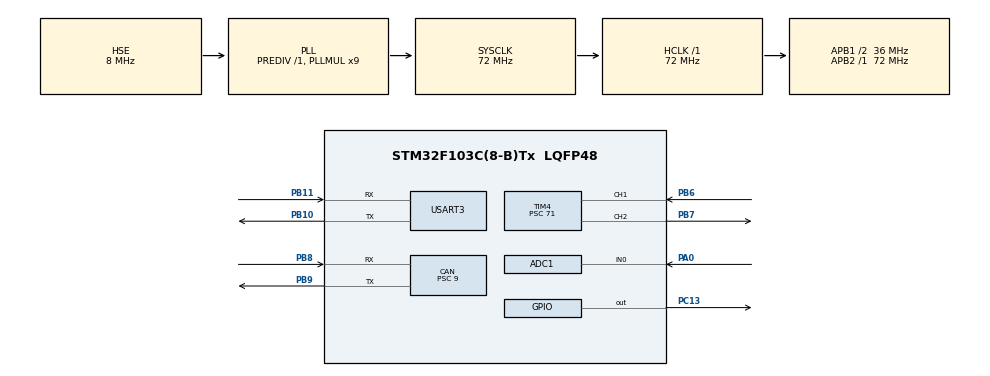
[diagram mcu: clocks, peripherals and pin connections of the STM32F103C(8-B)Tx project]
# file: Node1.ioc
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ADC1.Channel-0\#ChannelRegularConversion=ADC_CHANNEL_0
ADC1.NbrOfConversionFlag=1
ADC1.Rank-0\#ChannelRegularConversion=1
ADC1.SamplingTime-0\#ChannelRegularConversion=ADC_SAMPLETIME_1CYCLE_5
ADC1.master=1
CAN.BS1=CAN_BS1_6TQ
CAN.CalculateBaudRate=500000
CAN.CalculateTimeBit=2000
CAN.CalculateTimeQuantum=250.0
CAN.Mode=CAN_MODE_NORMAL
CAN.Prescaler=9
Mcu.Family=STM32F1
Mcu.Name=STM32F103C(8-B)Tx
Mcu.Package=LQFP48
NVIC.PriorityGroup=NVIC_PRIORITYGROUP_4
NVIC.TIM4_IRQn=true\:0\:0\:false\:false\:true\:true\:true\:true
PA0-WKUP.Signal=ADCx_IN0
PA13.Mode=Serial_Wire
PA13.Signal=SYS_JTMS-SWDIO
PA14.Mode=Serial_Wire
PA14.Signal=SYS_JTCK-SWCLK
PB10.Mode=Asynchronous
PB10.Signal=USART3_TX
PB11.Mode=Asynchronous
PB11.Signal=USART3_RX
PB6.Signal=S_TIM4_CH1
PB7.Signal=S_TIM4_CH2
PB8.Mode=CAN_Activate
PB8.Signal=CAN_RX
PB9.Mode=CAN_Activate
PB9.Signal=CAN_TX
PC13-TAMPER-RTC.Signal=GPIO_Output
PD0-OSC_IN.Mode=HSE-External-Oscillator
PD0-OSC_IN.Signal=RCC_OSC_IN
PD1-OSC_OUT.Mode=HSE-External-Oscillator
PD1-OSC_OUT.Signal=RCC_OSC_OUT
ProjectManager.HeapSize=0x200
ProjectManager.StackSize=0x400
ProjectManager.TargetToolchain=CMake
RCC.ADCPresc=RCC_ADCPCLK2_DIV6
RCC.AHBFreq_Value=72000000
RCC.APB1CLKDivider=RCC_HCLK_DIV2
RCC.APB1Freq_Value=36000000
RCC.APB1TimFreq_Value=72000000
RCC.APB2Freq_Value=72000000
RCC.APB2TimFreq_Value=72000000
RCC.HCLKFreq_Value=72000000
RCC.PLLMUL=RCC_PLL_MUL9
RCC.PLLSourceVirtual=RCC_PLLSOURCE_HSE
RCC.SYSCLKFreq_VALUE=72000000
RCC.SYSCLKSource=RCC_SYSCLKSOURCE_PLLCLK
RCC.USBFreq_Value=72000000
SH.ADCx_IN0.0=ADC1_IN0,IN0
SH.S_TIM4_CH1.0=TIM4_CH1,Input_Capture1_from_TI1
SH.S_TIM4_CH2.0=TIM4_CH2,PWM Generation2 CH2
TIM4.Channel-Input_Capture1_from_TI1=TIM_CHANNEL_1
TIM4.Channel-PWM\ Generation2\ CH2=TIM_CHANNEL_2
TIM4.Prescaler=71
TIM4.Pulse-PWM\ Generation2\ CH2=10
USART3.VirtualMode=VM_ASYNC
VP_TIM4_VS_OPM.Mode=OPM_bit
board=custom

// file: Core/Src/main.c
/* USER CODE BEGIN Header */
/**
  ******************************************************************************
  * @file           : main.c
  * @brief          : Main program body
  ******************************************************************************
  * @attention
  *
  * Copyright (c) 2026 STMicroelectronics.
  * All rights reserved.
  *
  * This software is licensed under terms that can be found in the LICENSE file
  * in the root directory of this software component.
  * If no LICENSE file comes with this software, it is provided AS-IS.
  *
  ******************************************************************************
  */
/* USER CODE END Header */
#include "main.h"

/* USER CODE BEGIN Includes */
#include <stdio.h>
#include <string.h>
#include <math.h>
#include <can_ids.h>
/* USER CODE END Includes */

ADC_HandleTypeDef hadc1;

CAN_HandleTypeDef hcan;

TIM_HandleTypeDef htim4;

UART_HandleTypeDef huart3;

/* USER CODE BEGIN PV */
static volatile uint8_t  ic_state   = 0;   /* 0 = wait rising, 1 = wait falling */
static volatile uint32_t ic_rise    = 0;
static volatile uint16_t Distance   = 0;
static volatile uint8_t  data_ready = 0;
static uint8_t  pot_val = 0;
static uint32_t tx_fail = 0;
/* USER CODE END PV */

void SystemClock_Config(void);
static void MX_GPIO_Init(void);
static void MX_ADC1_Init(void);
static void MX_CAN_Init(void);
static void MX_TIM4_Init(void);
static void MX_USART3_UART_Init(void);

/* USER CODE BEGIN 0 */
void HAL_TIM_IC_CaptureCallback(TIM_HandleTypeDef *htim)
{
    if (htim->Instance != TIM4 || htim->Channel != HAL_TIM_ACTIVE_CHANNEL_1) return;

    uint32_t v = HAL_TIM_ReadCapturedValue(htim, TIM_CHANNEL_1);

    if (ic_state == 0)                       /* rising edge */
    {
        ic_rise  = v;
        ic_state = 1;
        __HAL_TIM_SET_CAPTUREPOLARITY(htim, TIM_CHANNEL_1, TIM_INPUTCHANNELPOLARITY_FALLING);
    }
    else                                     /* falling edge */
    {
        uint16_t diff = (uint16_t)(v - ic_rise);
        Distance   = diff / 58U;
        data_ready = 1;
        ic_state   = 0;
        __HAL_TIM_SET_CAPTUREPOLARITY(htim, TIM_CHANNEL_1, TIM_INPUTCHANNELPOLARITY_RISING);
        __HAL_TIM_DISABLE_IT(htim, TIM_IT_CC1);
    }
}
/* USER CODE END 0 */

int main(void)
{

  /* USER CODE BEGIN 1 */
	/*char MSG[100];
	int X = 1;*/
  /* USER CODE END 1 */

  /* MCU Configuration--------------------------------------------------------*/

  /* Reset of all peripherals, Initializes the Flash interface and the Systick. */
  HAL_Init();

  /* Configure the system clock */
  SystemClock_Config();

  /* Initialize all configured peripherals */
  MX_GPIO_Init();
  MX_ADC1_Init();
  MX_CAN_Init();
  MX_TIM4_Init();
  MX_USART3_UART_Init();
  /* USER CODE BEGIN 2 */
  HAL_UART_Transmit(&huart3, (uint8_t*)"NODE A OK\r\n", 11, 100);

  HAL_ADCEx_Calibration_Start(&hadc1);

  htim4.Instance->CR1 |= TIM_CR1_OPM;
  HAL_TIM_IC_Start_IT(&htim4, TIM_CHANNEL_1);

  if (HAL_CAN_Start(&hcan) != HAL_OK)
  {
    Error_Handler();
  }

  uint32_t last_print = 0;
  /* USER CODE END 2 */

  /* Infinite loop */
  while (1)
  {

    /* USER CODE BEGIN 3 */

    HAL_GPIO_TogglePin(GPIOC, GPIO_PIN_13);

    /* pot */
    HAL_ADC_Start(&hadc1);
    if (HAL_ADC_PollForConversion(&hadc1, 10) == HAL_OK)
    {
      pot_val = (uint8_t)((HAL_ADC_GetValue(&hadc1) * 100U) / 4095U);
    }
    HAL_ADC_Stop(&hadc1);

    /* snapshot last echo result BEFORE re-arming */
    uint16_t dist_tx = data_ready ? Distance : CAN_DIST_NO_ECHO;
    data_ready = 0;

    /* re-arm capture from clean state, then trigger */
    ic_state = 0;
    __HAL_TIM_SET_CAPTUREPOLARITY(&htim4, TIM_CHANNEL_1, TIM_INPUTCHANNELPOLARITY_RISING);
    __HAL_TIM_CLEAR_IT(&htim4, TIM_IT_CC1);
    __HAL_TIM_ENABLE_IT(&htim4, TIM_IT_CC1);
    __HAL_TIM_SET_COUNTER(&htim4, 0);
    HAL_TIM_PWM_Start(&htim4, TIM_CHANNEL_2);

    /* CAN TX */
    CAN_TxHeaderTypeDef tx = {0};
    tx.StdId = CAN_ID_SENSOR;
    tx.IDE   = CAN_ID_STD;
    tx.RTR   = CAN_RTR_DATA;
    tx.DLC   = CAN_DLC_SENSOR;
    uint8_t  d[CAN_DLC_SENSOR];
    uint32_t mb;
    can_pack_sensor(d, dist_tx, pot_val);
    if (HAL_CAN_AddTxMessage(&hcan, &tx, d, &mb) != HAL_OK)
    {
      tx_fail++;
    }

    /* UART debug, once per second */
    if (HAL_GetTick() - last_print >= 1000U)
    {
      last_print = HAL_GetTick();
      char s[96];
      int k;
      if (dist_tx == CAN_DIST_NO_ECHO)
        k = snprintf(s, sizeof(s), "Dist: NO ECHO | Pot: %u%% | txfail=%lu ESR=0x%08lX\r\n",
                     pot_val, (unsigned long)tx_fail, (unsigned long)hcan.Instance->ESR);
      else
        k = snprintf(s, sizeof(s), "Dist: %u cm | Pot: %u%% | txfail=%lu ESR=0x%08lX\r\n",
                     dist_tx, pot_val, (unsigned long)tx_fail, (unsigned long)hcan.Instance->ESR);
      HAL_UART_Transmit(&huart3, (uint8_t*)s, k, 100);
    }

    HAL_Delay(60);
  }
  /* USER CODE END 3 */
}

void SystemClock_Config(void)
{
  RCC_OscInitTypeDef RCC_OscInitStruct = {0};
  RCC_ClkInitTypeDef RCC_ClkInitStruct = {0};
  RCC_PeriphCLKInitTypeDef PeriphClkInit = {0};

  /** Initializes the RCC Oscillators according to the specified parameters
  * in the RCC_OscInitTypeDef structure.
  */
  RCC_OscInitStruct.OscillatorType = RCC_OSCILLATORTYPE_HSE;
  RCC_OscInitStruct.HSEState = RCC_HSE_ON;
  RCC_OscInitStruct.HSEPredivValue = RCC_HSE_PREDIV_DIV1;
  RCC_OscInitStruct.HSIState = RCC_HSI_ON;
  RCC_OscInitStruct.PLL.PLLState = RCC_PLL_ON;
  RCC_OscInitStruct.PLL.PLLSource = RCC_PLLSOURCE_HSE;
  RCC_OscInitStruct.PLL.PLLMUL = RCC_PLL_MUL9;
  if (HAL_RCC_OscConfig(&RCC_OscInitStruct) != HAL_OK)
  {
    Error_Handler();
  }

  /** Initializes the CPU, AHB and APB buses clocks
  */
  RCC_ClkInitStruct.ClockType = RCC_CLOCKTYPE_HCLK|RCC_CLOCKTYPE_SYSCLK
                              |RCC_CLOCKTYPE_PCLK1|RCC_CLOCKTYPE_PCLK2;
  RCC_ClkInitStruct.SYSCLKSource = RCC_SYSCLKSOURCE_PLLCLK;
  RCC_ClkInitStruct.AHBCLKDivider = RCC_SYSCLK_DIV1;
  RCC_ClkInitStruct.APB1CLKDivider = RCC_HCLK_DIV2;
  RCC_ClkInitStruct.APB2CLKDivider = RCC_HCLK_DIV1;

  if (HAL_RCC_ClockConfig(&RCC_ClkInitStruct, FLASH_LATENCY_2) != HAL_OK)
  {
    Error_Handler();
  }
  PeriphClkInit.PeriphClockSelection = RCC_PERIPHCLK_ADC;
  PeriphClkInit.AdcClockSelection = RCC_ADCPCLK2_DIV6;
  if (HAL_RCCEx_PeriphCLKConfig(&PeriphClkInit) != HAL_OK)
  {
    Error_Handler();
  }
}

static void MX_ADC1_Init(void)
{

  ADC_ChannelConfTypeDef sConfig = {0};

  /** Common config
  */
  hadc1.Instance = ADC1;
  hadc1.Init.ScanConvMode = ADC_SCAN_DISABLE;
  hadc1.Init.ContinuousConvMode = DISABLE;
  hadc1.Init.DiscontinuousConvMode = DISABLE;
  hadc1.Init.ExternalTrigConv = ADC_SOFTWARE_START;
  hadc1.Init.DataAlign = ADC_DATAALIGN_RIGHT;
  hadc1.Init.NbrOfConversion = 1;
  if (HAL_ADC_Init(&hadc1) != HAL_OK)
  {
    Error_Handler();
  }

  /** Configure Regular Channel
  */
  sConfig.Channel = ADC_CHANNEL_0;
  sConfig.Rank = ADC_REGULAR_RANK_1;
  sConfig.SamplingTime = ADC_SAMPLETIME_1CYCLE_5;
  if (HAL_ADC_ConfigChannel(&hadc1, &sConfig) != HAL_OK)
  {
    Error_Handler();
  }

}

static void MX_CAN_Init(void)
{

  hcan.Instance = CAN1;
  hcan.Init.Prescaler = 9;
  hcan.Init.Mode = CAN_MODE_NORMAL;
  hcan.Init.SyncJumpWidth = CAN_SJW_1TQ;
  hcan.Init.TimeSeg1 = CAN_BS1_6TQ;
  hcan.Init.TimeSeg2 = CAN_BS2_1TQ;
  hcan.Init.TimeTriggeredMode = DISABLE;
  hcan.Init.AutoBusOff = DISABLE;
  hcan.Init.AutoWakeUp = DISABLE;
  hcan.Init.AutoRetransmission = DISABLE;
  hcan.Init.ReceiveFifoLocked = DISABLE;
  hcan.Init.TransmitFifoPriority = DISABLE;
  if (HAL_CAN_Init(&hcan) != HAL_OK)
  {
    Error_Handler();
  }

}

static void MX_TIM4_Init(void)
{

  TIM_MasterConfigTypeDef sMasterConfig = {0};
  TIM_IC_InitTypeDef sConfigIC = {0};
  TIM_OC_InitTypeDef sConfigOC = {0};

  htim4.Instance = TIM4;
  htim4.Init.Prescaler = 71;
  htim4.Init.CounterMode = TIM_COUNTERMODE_UP;
  htim4.Init.Period = 65535;
  htim4.Init.ClockDivision = TIM_CLOCKDIVISION_DIV1;
  htim4.Init.AutoReloadPreload = TIM_AUTORELOAD_PRELOAD_DISABLE;
  if (HAL_TIM_IC_Init(&htim4) != HAL_OK)
  {
    Error_Handler();
  }
  if (HAL_TIM_PWM_Init(&htim4) != HAL_OK)
  {
    Error_Handler();
  }
  if (HAL_TIM_OnePulse_Init(&htim4, TIM_OPMODE_SINGLE) != HAL_OK)
  {
    Error_Handler();
  }
  sMasterConfig.MasterOutputTrigger = TIM_TRGO_RESET;
  sMasterConfig.MasterSlaveMode = TIM_MASTERSLAVEMODE_DISABLE;
  if (HAL_TIMEx_MasterConfigSynchronization(&htim4, &sMasterConfig) != HAL_OK)
  {
    Error_Handler();
  }
  sConfigIC.ICPolarity = TIM_INPUTCHANNELPOLARITY_RISING;
  sConfigIC.ICSelection = TIM_ICSELECTION_DIRECTTI;
  sConfigIC.ICPrescaler = TIM_ICPSC_DIV1;
  sConfigIC.ICFilter = 0;
  if (HAL_TIM_IC_ConfigChannel(&htim4, &sConfigIC, TIM_CHANNEL_1) != HAL_OK)
  {
    Error_Handler();
  }
  sConfigOC.OCMode = TIM_OCMODE_PWM1;
  sConfigOC.Pulse = 10;
  sConfigOC.OCPolarity = TIM_OCPOLARITY_HIGH;
  sConfigOC.OCFastMode = TIM_OCFAST_DISABLE;
  if (HAL_TIM_PWM_ConfigChannel(&htim4, &sConfigOC, TIM_CHANNEL_2) != HAL_OK)
  {
    Error_Handler();
  }
  HAL_TIM_MspPostInit(&htim4);

}

static void MX_USART3_UART_Init(void)
{

  huart3.Instance = USART3;
  huart3.Init.BaudRate = 115200;
  huart3.Init.WordLength = UART_WORDLENGTH_8B;
  huart3.Init.StopBits = UART_STOPBITS_1;
  huart3.Init.Parity = UART_PARITY_NONE;
  huart3.Init.Mode = UART_MODE_TX_RX;
  huart3.Init.HwFlowCtl = UART_HWCONTROL_NONE;
  huart3.Init.OverSampling = UART_OVERSAMPLING_16;
  if (HAL_UART_Init(&huart3) != HAL_OK)
  {
    Error_Handler();
  }

}

static void MX_GPIO_Init(void)
{
  GPIO_InitTypeDef GPIO_InitStruct = {0};

  /* GPIO Ports Clock Enable */
  __HAL_RCC_GPIOC_CLK_ENABLE();
  __HAL_RCC_GPIOD_CLK_ENABLE();
  __HAL_RCC_GPIOA_CLK_ENABLE();
  __HAL_RCC_GPIOB_CLK_ENABLE();

  /*Configure GPIO pin Output Level */
  HAL_GPIO_WritePin(GPIOC, GPIO_PIN_13, GPIO_PIN_RESET);

  /*Configure GPIO pin : PC13 */
  GPIO_InitStruct.Pin = GPIO_PIN_13;
  GPIO_InitStruct.Mode = GPIO_MODE_OUTPUT_PP;
  GPIO_InitStruct.Pull = GPIO_NOPULL;
  GPIO_InitStruct.Speed = GPIO_SPEED_FREQ_LOW;
  HAL_GPIO_Init(GPIOC, &GPIO_InitStruct);

}

void Error_Handler(void)
{
  __disable_irq();
  while (1)
  {
  }
}
